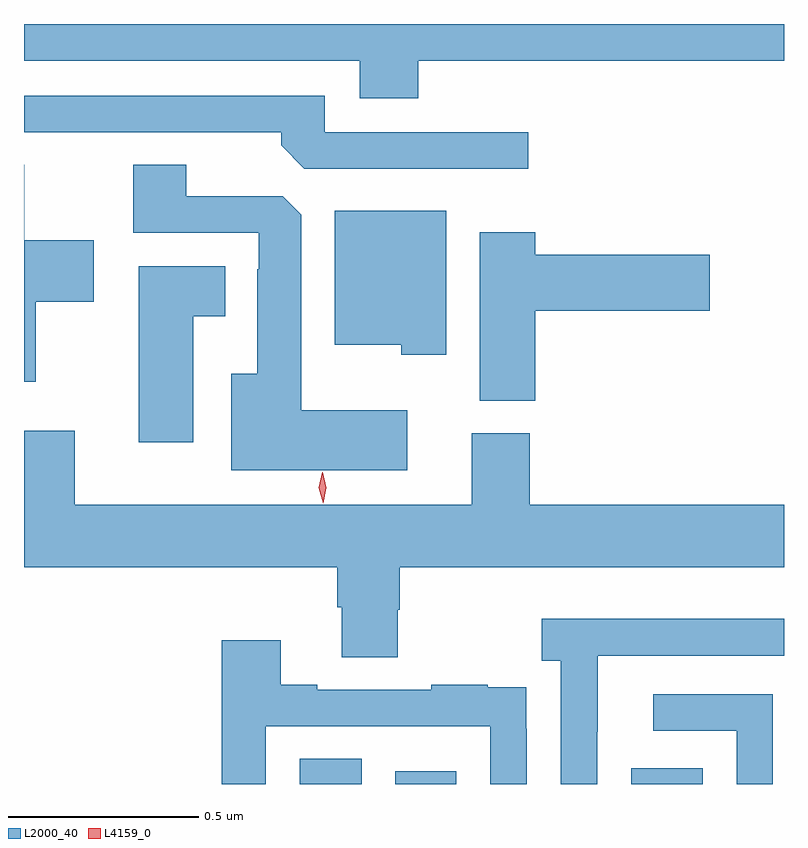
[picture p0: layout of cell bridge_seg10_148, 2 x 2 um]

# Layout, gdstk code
import gdstk
lib = gdstk.Library(unit=1e-6, precision=1e-09)
def R(c, l, rs):  # rectangles x0, y0, x1, y1
    for r in rs: c.add(gdstk.rectangle(r[:2], r[2:], *l))
def P(c, l, *ps):  # polygons
    for p in ps: c.add(gdstk.Polygon(p, *l))
L2000_40 = (2000, 40)
L4159_0 = (4159, 0)

bridge_seg10_148 = lib.new_cell('bridge_seg10_148')
R(bridge_seg10_148, L2000_40, [(324.494,1254.457,324.658,1254.524), (324.746,1254.457,324.907,1254.49), (325.367,1254.457,325.555,1254.499)])
P(bridge_seg10_148, L2000_40, [(324.806,1256.36),(325.769,1256.36),(325.769,1256.457),(323.769,1256.457),(323.769,1256.36),(324.653,1256.36),(324.653,1256.261),(324.806,1256.261)],
  [(325.096,1256.172),(324.561,1256.172),(324.561,1256.268),(323.769,1256.268),(323.769,1256.172),(324.446,1256.172),(324.446,1256.138),(324.507,1256.076),(325.096,1256.076)],
  [(324.778,1255.441),(324.499,1255.441),(324.499,1255.955),(324.45,1256.004),(324.196,1256.004),(324.196,1256.087),(324.056,1256.087),(324.056,1255.908),(324.387,1255.908),(324.387,1255.811),(324.383,1255.811),(324.383,1255.537),(324.314,1255.537),(324.314,1255.283),(324.778,1255.283)],
  [(323.8,1255.726),(323.953,1255.726),(323.953,1255.888),(323.77,1255.888),(323.77,1256.086),(323.769,1256.086),(323.769,1255.515),(323.8,1255.515)],
  [(324.88,1255.966),(324.587,1255.966),(324.587,1255.613),(324.762,1255.613),(324.762,1255.586),(324.88,1255.586)],
  [(325.115,1255.703),(325.573,1255.703),(325.573,1255.85),(325.115,1255.85),(325.115,1255.909),(324.968,1255.909),(324.968,1255.465),(325.115,1255.465)],
  [(324.214,1255.688),(324.298,1255.688),(324.298,1255.819),(324.071,1255.819),(324.071,1255.356),(324.214,1255.356)],
  [(324.753,1254.915),(324.758,1254.915),(324.758,1255.028),(325.769,1255.028),(325.769,1255.192),(325.1,1255.192),(325.1,1255.38),(324.947,1255.38),(324.947,1255.192),(323.902,1255.192),(323.902,1255.387),(323.769,1255.387),(323.769,1255.028),(324.593,1255.028),(324.593,1254.922),(324.605,1254.922),(324.605,1254.79),(324.753,1254.79)],
  [(325.278,1254.595),(325.279,1254.595),(325.279,1254.795),(325.769,1254.795),(325.769,1254.892),(325.131,1254.892),(325.131,1254.782),(325.182,1254.782),(325.182,1254.457),(325.278,1254.457)],
  [(324.405,1254.609),(324.996,1254.609),(324.996,1254.457),(325.092,1254.457),(325.092,1254.602),(325.091,1254.602),(325.091,1254.711),(324.989,1254.711),(324.989,1254.718),(324.841,1254.718),(324.841,1254.705),(324.541,1254.705),(324.541,1254.718),(324.445,1254.718),(324.445,1254.835),(324.289,1254.835),(324.289,1254.457),(324.405,1254.457)],
  [(325.74,1254.693),(325.425,1254.693),(325.425,1254.597),(325.644,1254.597),(325.644,1254.457),(325.74,1254.457)])
P(bridge_seg10_148, L4159_0, [(324.556,1255.196),(324.556,1255.196),(324.545,1255.237),(324.554,1255.278),(324.555,1255.278),(324.555,1255.278),(324.565,1255.237),(324.556,1255.196)])

lib.write_gds('bridge_seg10_148.gds')
